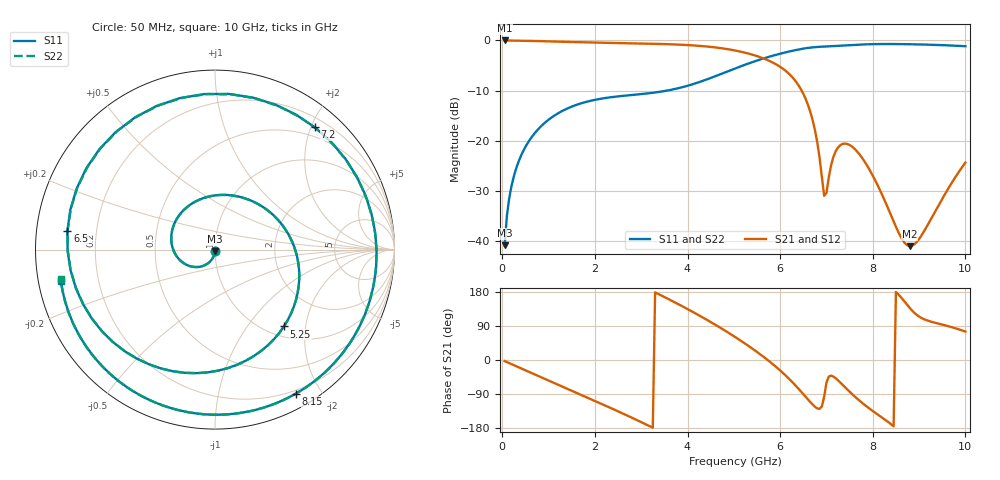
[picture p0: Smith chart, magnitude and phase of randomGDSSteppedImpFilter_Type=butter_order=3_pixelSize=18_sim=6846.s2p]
! freq	dB(S11)	phase(S11)	dB(S12)	phase(S12)
!  dB(S21)	phase(S21)	dB(S22)	phase(S22)
!S-par simulation data
#  GHz  S  DB  R 50
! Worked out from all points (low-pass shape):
!   200 points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, 50 MHz to 10 GHz, reference 50 ohm
!   highest |S21| = 0.00 dB at 50 MHz (marker M1); lowest = -40.9 dB at 8.8 GHz (marker M2)
!   |S21| within 3 dB of the highest: start of sweep to 5.462 GHz
!   lowest |S11| = -40.8 dB at 50 MHz (marker M3), VSWR 1.02, Z = 50 - j0.911 ohm
!   |S11| at or under -10 dB: start of sweep to 3.546 GHz
!   |S22| runs from -40.8 to -0.7 dB; largest |S21 - S12| = 0
!   S11 on the Smith chart (normalised r, x): 50 MHz: 1.00, -0.02; 5.25 GHz: 1.19, -1.52; 6.5 GHz: 0.09, +0.06; 7.2 GHz: 0.34, +2.06; 8.15 GHz: 0.16, -1.69; 10 GHz: 0.07, -0.10
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0.05  -40.80 -91.9  -0.00 -2.8  -0.00 -2.8  -40.80 -91.9
0.2  -28.91 -100.8  -0.02 -10.9  -0.02 -10.9  -28.91 -100.9
0.5  -21.18 -117.6  -0.07 -27.2  -0.07 -27.2  -21.18 -117.7
1.15  -14.80 -152.8  -0.22 -62.2  -0.22 -62.2  -14.80 -153.0
1.75  -12.38 174.9  -0.37 -94.4  -0.37 -94.4  -12.38 174.6
2.7  -10.94 122.7  -0.55 -146.7  -0.55 -146.7  -10.94 122.2
3.4  -10.22 81.8  -0.69 172.3  -0.69 172.3  -10.22 81.2
4.3  -8.14 23.7  -1.11 114.3  -1.11 114.3  -8.14 23.3
5.05  -5.50 -31.8  -2.04 58.9  -2.04 58.9  -5.50 -31.8
5.25  -4.81 -48.1  -2.45 42.7  -2.45 42.7  -4.80 -48.1
5.95  -2.77 -114.4  -4.96 -22.2  -4.96 -22.2  -2.77 -114.3
6.2  -2.19 -144.1  -6.71 -50.6  -6.71 -50.6  -2.20 -144.2
6.5  -1.63 172.7  -10.62 -90.0  -10.62 -90.0  -1.64 172.3
6.7  -1.38 139.1  -15.81 -117.5  -15.81 -117.5  -1.39 138.3
6.95  -1.22 94.0  -30.91 -97.0  -30.91 -97.0  -1.23 92.7
7.2  -1.11 50.7  -22.04 -48.2  -22.04 -48.2  -1.12 49.1
7.6  -0.88 -6.2  -21.50 -95.2  -21.50 -95.2  -0.88 -7.9
8.15  -0.72 -60.8  -29.67 -147.5  -29.67 -147.5  -0.72 -62.1
8.35  -0.71 -76.0  -33.83 -165.1  -33.83 -165.1  -0.71 -77.2
8.8  -0.76 -105.1  -40.94 137.2  -40.94 137.2  -0.75 -106.1
9.4  -0.90 -138.0  -33.16 96.5  -33.16 96.5  -0.90 -138.7
10  -1.15 -168.6  -24.30 75.0  -24.30 75.0  -1.15 -169.2
